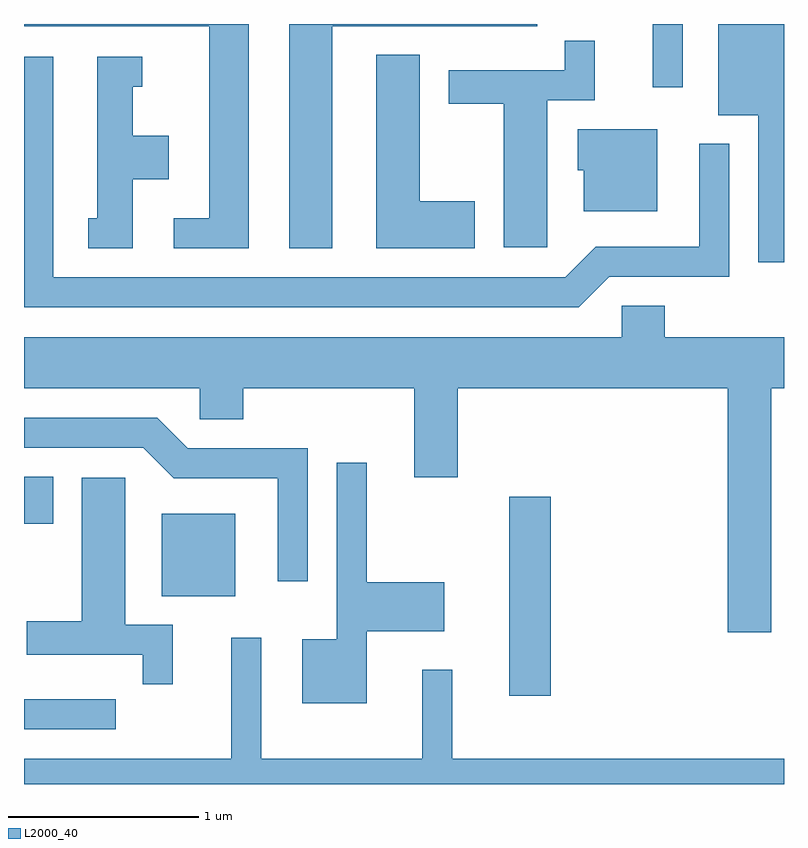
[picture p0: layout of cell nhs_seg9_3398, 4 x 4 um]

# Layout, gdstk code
import gdstk
lib = gdstk.Library(unit=1e-6, precision=1e-09)
def R(c, l, rs):  # rectangles x0, y0, x1, y1
    for r in rs: c.add(gdstk.rectangle(r[:2], r[2:], *l))
def P(c, l, *ps):  # polygons
    for p in ps: c.add(gdstk.Polygon(p, *l))
L2000_40 = (2000, 40)

nhs_seg9_3398 = lib.new_cell('nhs_seg9_3398')
R(nhs_seg9_3398, L2000_40, [(285.611,1956.721,286.093,1956.879), (288.166,1956.896,288.384,1957.944), (286.336,1957.421,286.724,1957.854), (285.611,1957.801,285.764,1958.049), (288.921,1960.098,289.079,1960.432)])
P(nhs_seg9_3398, L2000_40, [(287.234,1960.421),(288.313,1960.421),(288.313,1960.432),(287.006,1960.432),(287.006,1959.251),(287.234,1959.251)],
  [(286.794,1960.432),(285.611,1960.432),(285.611,1960.421),(286.586,1960.421),(286.586,1959.409),(286.398,1959.409),(286.398,1959.251),(286.794,1959.251)],
  [(289.611,1960.432),(289.266,1960.432),(289.266,1959.951),(289.476,1959.951),(289.476,1959.178),(289.611,1959.178)],
  [(288.364,1960.031),(288.614,1960.031),(288.614,1960.343),(288.456,1960.343),(288.456,1960.189),(287.846,1960.189),(287.846,1960.011),(288.136,1960.011),(288.136,1959.256),(288.364,1959.256)],
  [(287.984,1959.499),(287.694,1959.499),(287.694,1960.269),(287.466,1960.269),(287.466,1959.251),(287.984,1959.251)],
  [(286.184,1959.616),(286.374,1959.616),(286.374,1959.844),(286.184,1959.844),(286.184,1960.101),(286.233,1960.101),(286.233,1960.259),(285.996,1960.259),(285.996,1959.409),(285.948,1959.409),(285.948,1959.251),(286.184,1959.251)],
  [(288.692,1959.101),(289.324,1959.101),(289.324,1959.803),(289.166,1959.803),(289.166,1959.259),(288.619,1959.259),(288.459,1959.099),(285.764,1959.099),(285.764,1960.259),(285.611,1960.259),(285.611,1958.941),(288.532,1958.941)],
  [(288.944,1959.879),(288.526,1959.879),(288.526,1959.661),(288.556,1959.661),(288.556,1959.446),(288.944,1959.446)],
  [(289.544,1958.516),(289.611,1958.516),(289.611,1958.784),(288.984,1958.784),(288.984,1958.949),(288.756,1958.949),(288.756,1958.784),(285.611,1958.784),(285.611,1958.516),(286.536,1958.516),(286.536,1958.351),(286.764,1958.351),(286.764,1958.516),(287.666,1958.516),(287.666,1958.046),(287.894,1958.046),(287.894,1958.516),(289.316,1958.516),(289.316,1957.231),(289.544,1957.231)],
  [(287.104,1958.199),(286.472,1958.199),(286.312,1958.359),(285.611,1958.359),(285.611,1958.201),(286.239,1958.201),(286.399,1958.041),(286.946,1958.041),(286.946,1957.498),(287.104,1957.498)],
  [(287.414,1957.236),(287.824,1957.236),(287.824,1957.494),(287.414,1957.494),(287.414,1958.123),(287.256,1958.123),(287.256,1957.194),(287.076,1957.194),(287.076,1956.856),(287.414,1956.856)],
  [(286.394,1957.269),(286.144,1957.269),(286.144,1958.044),(285.916,1958.044),(285.916,1957.289),(285.626,1957.289),(285.626,1957.111),(286.236,1957.111),(286.236,1956.958),(286.394,1956.958)],
  [(289.611,1956.564),(287.864,1956.564),(287.864,1957.033),(287.706,1957.033),(287.706,1956.564),(286.859,1956.564),(286.859,1957.203),(286.701,1957.203),(286.701,1956.564),(285.611,1956.564),(285.611,1956.432),(289.611,1956.432)])

lib.write_gds('nhs_seg9_3398.gds')
